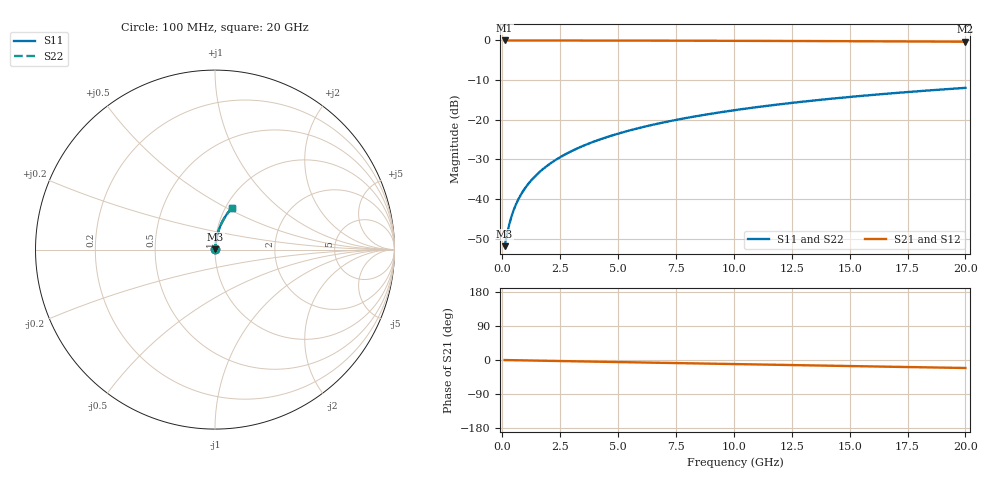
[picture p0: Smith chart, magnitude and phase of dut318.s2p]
! Touchstone file exported from HFSS 2026.1.0
!  File:  C:/ffzhzh/LocalFiles/Ansys_Project_Files/temp_train_TMRDL_318_1783003395_4048.aedt
!  Generated:  10:44:39 PM Jul  2, 2026
!  Design:  TMRDL
!  Project:  temp_train_TMRDL_318_1783003395_4048
! Variables:
!  h_bsmrdl = 2um
!  h_ox = 20um
!  h_rdl = 5um
!  h_sub = 80um
!  h_tmrdl = 2.14um
!  h_tsv = 80um
!  h_via = 3um
!  l_bsmrdl = 300um
!  l_sub = 622.01um
!  l_tmrdl = 222.01um
!  m_sub = 200um
!  pitch = 59.41um
!  r_tsv = 6um
!  s_tmrdl = 10um
!  w_bsmrdl = 18um
!  w_sub = 500um
!  w_tmrdl = 21.43um
!  x_tsv_center1 = 232.725um
!  x_tsv_center2 = 550.725um
!  x_tsv_center3 = 794.165um
!  x_tsv_center4 = 1112.165um
!  x_tsv_center5 = 1355.605um
!  x_tsv_center6 = 1673.605um
# GHz S MA R 50.000000
! Terminal data exported
! Port[1] = TM_RDL1_1_T1
! Port[2] = TM_RDL1_1_T2
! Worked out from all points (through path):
!   200 points, 100 MHz to 20 GHz, reference 50 ohm
!   highest |S21| = -0.02 dB at 100 MHz (marker M1); lowest = -0.3 dB at 20 GHz (marker M2)
!   group delay of S21, straight-line fit = 2.93 ps
!   lowest |S11| = -51.9 dB at 100 MHz (marker M3), VSWR 1.01, Z = 50.2 + j0.142 ohm
!   |S11| at or under -10 dB: start of sweep to end of sweep
!   |S22| runs from -51.9 to -12.0 dB; largest |S21 - S12| = 2.7e-15
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0.1  0.002531 34.1  0.9979 -0.1  0.9979 -0.1  0.002531 34.1
! Gamma 0 0 0 0
! Port Impedance 50 0 50 0
0.2  0.003544 52.9  0.9979 -0.2  0.9979 -0.2  0.003544 52.9
0.3  0.004758 62.4  0.9978 -0.3  0.9978 -0.3  0.004758 62.4
0.4  0.006037 67.8  0.9978 -0.5  0.9978 -0.5  0.006037 67.8
0.5  0.007337 71.2  0.9977 -0.6  0.9977 -0.6  0.007337 71.2
0.6  0.008642 73.6  0.9976 -0.7  0.9976 -0.7  0.008642 73.6
0.8  0.01125 76.6  0.9975 -0.9  0.9975 -0.9  0.01125 76.6
1.1  0.01517 79.1  0.9973 -1.2  0.9973 -1.2  0.01517 79.1
1.5  0.02042 81.0  0.9972 -1.6  0.9972 -1.6  0.02042 81.0
1.8  0.02436 81.7  0.997 -2.0  0.997 -2.0  0.02436 81.7
2.1  0.02831 82.2  0.9969 -2.3  0.9969 -2.3  0.02831 82.2
2.7  0.03623 82.7  0.9966 -2.9  0.9966 -2.9  0.03623 82.7
3.5  0.04679 82.7  0.9961 -3.8  0.9961 -3.8  0.04679 82.7
4.2  0.05602 82.5  0.9955 -4.6  0.9955 -4.6  0.05602 82.5
5  0.06654 82.0  0.9948 -5.4  0.9948 -5.4  0.06654 82.0
5.9  0.07834 81.3  0.9938 -6.4  0.9938 -6.4  0.07834 81.3
6.8  0.09008 80.6  0.9927 -7.4  0.9927 -7.4  0.09008 80.6
8.3  0.1095 79.2  0.9906 -9.0  0.9906 -9.0  0.1095 79.2
10.1  0.1325 77.5  0.9875 -10.9  0.9875 -10.9  0.1325 77.5
13.4  0.1738 74.3  0.9806 -14.4  0.9806 -14.4  0.1738 74.3
16.7  0.2135 71.0  0.9722 -17.8  0.9722 -17.8  0.2135 71.0
20  0.2517 67.7  0.9626 -21.1  0.9626 -21.1  0.2517 67.7
